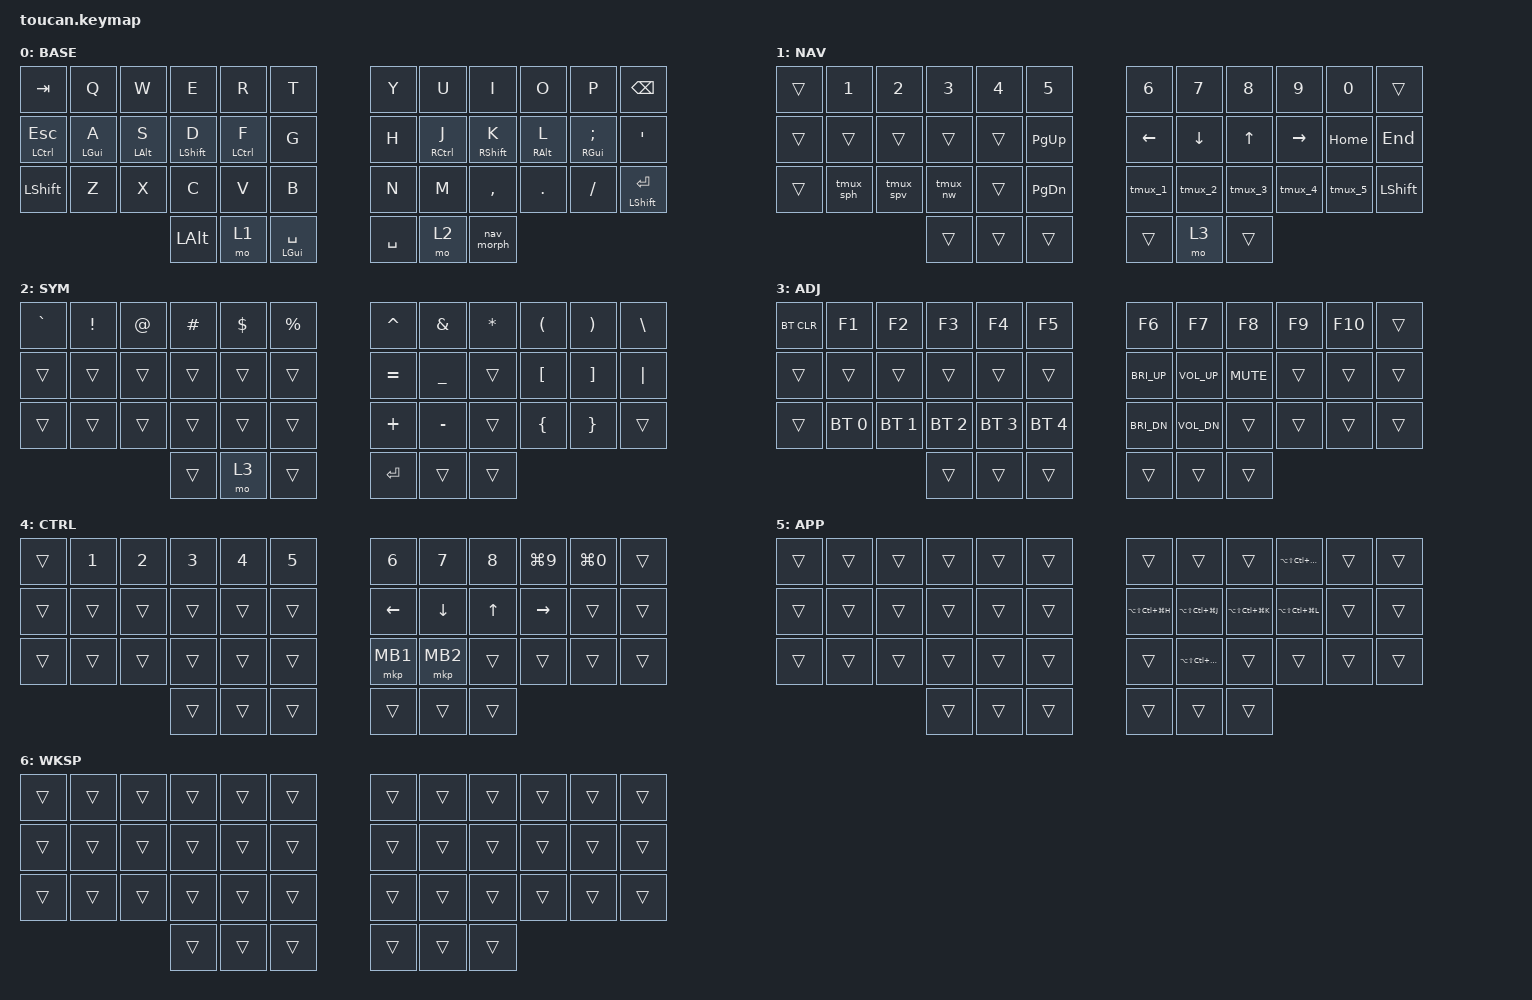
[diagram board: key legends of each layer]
#include <behaviors.dtsi>
#include <dt-bindings/zmk/keys.h>
#include <dt-bindings/zmk/bt.h>
#include <dt-bindings/zmk/mouse.h>


/ {
    macros {
        // Send Ctrl+SP (tmux prefix) then a window number in one keypress
        // Usage in NAV layer: hold NAV + press N/M/,/./slash = tmux window 1-5
        // Window switching: NAV + N/M/,/./slash
        tmux_1: tmux_1 { compatible = "zmk,behavior-macro"; #binding-cells = <0>; wait-ms = <50>; tap-ms = <10>; bindings = <&macro_tap &kp LC(SPACE) &kp N1>; };
        tmux_2: tmux_2 { compatible = "zmk,behavior-macro"; #binding-cells = <0>; wait-ms = <50>; tap-ms = <10>; bindings = <&macro_tap &kp LC(SPACE) &kp N2>; };
        tmux_3: tmux_3 { compatible = "zmk,behavior-macro"; #binding-cells = <0>; wait-ms = <50>; tap-ms = <10>; bindings = <&macro_tap &kp LC(SPACE) &kp N3>; };
        tmux_4: tmux_4 { compatible = "zmk,behavior-macro"; #binding-cells = <0>; wait-ms = <50>; tap-ms = <10>; bindings = <&macro_tap &kp LC(SPACE) &kp N4>; };
        tmux_5: tmux_5 { compatible = "zmk,behavior-macro"; #binding-cells = <0>; wait-ms = <50>; tap-ms = <10>; bindings = <&macro_tap &kp LC(SPACE) &kp N5>; };
        // Pane/window management: NAV + Z/X/C
        tmux_sph: tmux_sph { compatible = "zmk,behavior-macro"; #binding-cells = <0>; wait-ms = <50>; tap-ms = <10>; bindings = <&macro_tap &kp LC(SPACE) &kp PRCNT>; };
        tmux_spv: tmux_spv { compatible = "zmk,behavior-macro"; #binding-cells = <0>; wait-ms = <50>; tap-ms = <10>; bindings = <&macro_tap &kp LC(SPACE) &kp DQT>; };
        tmux_nw:  tmux_nw  { compatible = "zmk,behavior-macro"; #binding-cells = <0>; wait-ms = <50>; tap-ms = <10>; bindings = <&macro_tap &kp LC(SPACE) &kp C>; };
    };

    combos {
        compatible = "zmk,combos";
        // Z + / simultaneously = caps_word (for TYPING_CONSTANTS)
        combo_caps_word {
            timeout-ms = <50>;
            key-positions = <25 34>;
            bindings = <&caps_word>;
        };
        // Right module: GUI/SP + SYS together = RET
        combo_ret {
            timeout-ms = <50>;
            key-positions = <39 40>;
            bindings = <&kp RET>;
        };
        // Left outer top two (TAB+ESC) or right outer top two (BSPC+SQT) = macOS dictation
        combo_dictation_l {
            timeout-ms = <50>;
            key-positions = <0 12>;
            bindings = <&kp C_VOICE_COMMAND>;
        };
        combo_dictation_r {
            timeout-ms = <50>;
            key-positions = <11 23>;
            bindings = <&kp C_VOICE_COMMAND>;
        };
    };

    behaviors {
        // Right outer thumb: hold = VIMNAV layer, shift+hold = RET
        nav_morph: nav_morph {
            compatible = "zmk,behavior-mod-morph";
            #binding-cells = <0>;
            bindings = <&mo 4>, <&kp RET>;
            mods = <(MOD_LSFT|MOD_RSFT)>;
        };

        // Left-hand home row mods (A S D F)
        // Only activates as modifier when a key on the RIGHT side is pressed
        lhm: left_homerow_mods {
            compatible = "zmk,behavior-hold-tap";
            #binding-cells = <2>;
            flavor = "balanced";
            tapping-term-ms = <200>;
            quick-tap-ms = <175>;
            require-prior-idle-ms = <250>;
            bindings = <&kp>, <&kp>;
            hold-trigger-key-positions = <6 7 8 9 10 11 18 19 20 21 22 23 30 31 32 33 34 35 39 40 41>;
            hold-trigger-on-release;
        };

        // Right-hand home row mods (J K L ;)
        // Tap alone = key. Simultaneous with LEFT-side key = modifier.
        // tapping-term very high — hold only fires via cross-hand trigger, not duration.
        rhm: right_homerow_mods {
            compatible = "zmk,behavior-hold-tap";
            #binding-cells = <2>;
            flavor = "balanced";
            tapping-term-ms = <200>;
            quick-tap-ms = <175>;
            require-prior-idle-ms = <250>;
            bindings = <&kp>, <&kp>;
            hold-trigger-key-positions = <0 1 2 3 4 5 12 13 14 15 16 17 24 25 26 27 28 29 36 37 38>;
            hold-trigger-on-release;
        };

    };

    keymap {
        compatible = "zmk,keymap";

        // Layer 0: Base (QWERTY) with HRM
        // ┌─────┬───┬───┬───┬───┬───┐   ┌───┬───┬───┬───┬───┬──────┐
        // │ TAB │ Q │ W │ E │ R │ T │   │ Y │ U │ I │ O │ P │ BSPC │
        // ├─────┼───┼───┼───┼───┼───┤   ├───┼───┼───┼───┼───┼──────┤
        // │ESC/ │GUI│ALT│SHF│CTL│ G │   │ H │CTL│SHF│ALT│GUI│  '   │
        // │CTRL │ a │ s │ d │ f │   │   │   │ j │ k │ l │ ; │      │
        // ├─────┼───┼───┼───┼───┼───┤   ├───┼───┼───┼───┼───┼──────┤
        // │SHFT │ Z │ X │ C │ V │ B │   │ N │ M │ , │ . │ / │SH/RET│
        // └─────┴───┴───┼───┼───┼───┤   ├───┼───┼───┼───┴───┴──────┘
        //               │ALT│NAV│WSP│   │SPC│SYM│CTL│
        //               │   │   │/SP│   │   │   │/RE│
        //               └───┴───┴───┘   └───┴───┴───┘
        base_layer {
            display-name = "BASE";
            bindings = <
                &kp TAB         &kp Q        &kp W        &kp E        &kp R        &kp T          &kp Y        &kp U        &kp I        &kp O        &kp P        &kp BSPC
                &mt LCTRL ESC   &lhm LGUI A  &lhm LALT S  &lhm LSHFT D &lhm LCTRL F &kp G          &kp H        &rhm RCTRL J &rhm RSHFT K &rhm RALT L  &rhm RGUI SEMI  &kp SQT
                &kp LSHFT       &kp Z        &kp X        &kp C        &kp V        &kp B          &kp N        &kp M        &kp COMMA    &kp DOT      &kp FSLH     &mt LSHFT RET
                                                        &kp LALT    &mo 1   &mt LGUI SPACE         &kp SPACE  &mo 2  &nav_morph
            >;
        };


        // Layer 1: NAV — hold left middle thumb
        // ┌─────┬───┬───┬───┬───┬───┐   ┌───┬───┬───┬───┬───┬───┐
        // │     │ 1 │ 2 │ 3 │ 4 │ 5 │   │ 6 │ 7 │ 8 │ 9 │ 0 │   │
        // ├─────┼───┼───┼───┼───┼───┤   ├───┼───┼───┼───┼───┼───┤
        // │     │   │   │   │   │PGU│   │ ← │ ↓ │ ↑ │ → │HOM│END│
        // ├─────┼───┼───┼───┼───┼───┤   ├───┼───┼───┼───┼───┼───┤
        // │     │SPH│SPV│NWP│   │PGD│   │TX1│TX2│TX3│TX4│TX5│SHF│
        // └─────┴───┴───┼───┼───┼───┤   ├───┼───┼───┼───┴───┴───┘
        //               │   │▓▓▓│   │   │   │ADJ│   │
        //               └───┴───┴───┘   └───┴───┴───┘
        // SPH = tmux split horizontal (%)   SPV = split vertical (")   NW = new window
        // TX1-5 = tmux window 1–5 (Ctrl+Space+N)
        // caps_word = Z + / simultaneously (for TYPING_CONSTANTS)
        nav_layer {
            display-name = "NAV";
            bindings = <
                &trans &kp N1    &kp N2    &kp N3    &kp N4 &kp N5      &kp N6   &kp N7    &kp N8   &kp N9    &kp N0   &trans
                &trans &trans    &trans    &trans    &trans &kp PG_UP   &kp LEFT &kp DOWN  &kp UP   &kp RIGHT &kp HOME &kp END
                &trans &tmux_sph &tmux_spv &tmux_nw  &trans &kp PG_DN   &tmux_1  &tmux_2   &tmux_3  &tmux_4   &tmux_5  &kp LSHFT
                                           &trans    &trans &trans      &trans   &mo 3     &trans
            >;
        };

        // Layer 2: SYM — hold right middle thumb
        // Right inner thumb (SPC position) = RET in this layer
        // (hold SYM + tap right inner = Return — one-thumb combo)
        // ┌─────┬───┬───┬───┬───┬───┐   ┌───┬───┬───┬───┬───┬─────┐
        // │  `  │ ! │ @ │ # │ $ │ % │   │ ^ │ & │ * │ ( │ ) │  \  │
        // ├─────┼───┼───┼───┼───┼───┤   ├───┼───┼───┼───┼───┼─────┤
        // │     │   │   │   │   │   │   │ = │ _ │   │ [ │ ] │  |  │
        // ├─────┼───┼───┼───┼───┼───┤   ├───┼───┼───┼───┼───┼─────┤
        // │     │   │   │   │   │   │   │ + │ - │   │ { │ } │     │
        // └─────┴───┴───┼───┼───┼───┤   ├───┼───┼───┼───┴───┴─────┘
        //               │   │ADJ│   │   │RET│▓▓▓│   │
        //               └───┴───┴───┘   └───┴───┴───┘
        symbols_layer {
            display-name = "SYM";
            bindings = <
                &kp GRAVE &kp EXCL &kp AT   &kp HASH  &kp DLLR  &kp PRCNT   &kp CARET &kp AMPS  &kp ASTRK   &kp LPAR  &kp RPAR &kp BSLH
                &trans    &trans   &trans   &trans    &trans    &trans      &kp EQUAL &kp UNDER &trans      &kp LBKT  &kp RBKT &kp PIPE
                &trans    &trans   &trans   &trans    &trans    &trans      &kp PLUS  &kp MINUS &trans      &kp LBRC  &kp RBRC &trans 
                                            &trans    &mo 3     &trans      &kp RET   &trans    &trans
            >;
        };


        // Layer 3: ADJ — hold both NAV + SYM at the same time
        // F-keys, media controls, brightness. BT controls here (safe — needs both thumbs).
        // ┌─────┬────┬────┬────┬────┬────┐   ┌────┬────┬────┬────┬─────┬─────┐
        // │     │ F1 │ F2 │ F3 │ F4 │ F5 │   │ F6 │ F7 │ F8 │ F9 │ F10 │     │
        // ├─────┼────┼────┼────┼────┼────┤   ├────┼────┼────┼────┼─────┼─────┤
        // │     │    │    │    │    │    │   │BRI+│VOL+│MUTE│    │     │     │
        // ├─────┼────┼────┼────┼────┼────┤   ├────┼────┼────┼────┼─────┼─────┤
        // │BTCLR│BT0 │BT1 │BT2 │BT3 │BT4 │   │BRI-│VOL-│    │    │     │     │
        // └─────┴────┴────┼────┼────┼────┤   ├────┼────┼────┼────┴─────┴─────┘
        //                 │    │▓▓▓ │    │   │    │▓▓▓ │    │
        //                 └────┴────┴────┘   └────┴────┴────┘
        adj_layer {
            display-name = "ADJ";
            bindings = <
                &bt BT_CLR      &kp F1       &kp F2       &kp F3       &kp F4       &kp F5           &kp F6       &kp F7       &kp F8     &kp F9     &kp F10    &trans
                &trans          &trans       &trans       &trans       &trans       &trans           &kp C_BRI_UP &kp C_VOL_UP &kp C_MUTE &trans     &trans     &trans
                &trans          &bt BT_SEL 0 &bt BT_SEL 1 &bt BT_SEL 2 &bt BT_SEL 3 &bt BT_SEL 4     &kp C_BRI_DN &kp C_VOL_DN &trans     &trans     &trans     &trans
                                                     &trans       &trans       &trans           &trans       &trans       &trans
            >;
        };

        // Layer 4: CTRL — hold right outer thumb (shift+thumb = RET)
        // Right home row = vim arrows. N=MB1  M=MB2.
        // ┌─────┬───┬───┬───┬───┬───┐   ┌───┬───┬───┬───┬───┬──────┐
        // │     │   │   │   │   │   │   │   │   │   │   │   │      │
        // ├─────┼───┼───┼───┼───┼───┤   ├───┼───┼───┼───┼───┼──────┤
        // │     │   │   │   │   │   │   │ ← │ ↓ │ ↑ │ → │   │      │
        // ├─────┼───┼───┼───┼───┼───┤   ├───┼───┼───┼───┼───┼──────┤
        // │     │   │   │   │   │   │   │MB1│MB2│   │   │   │      │
        // └─────┴───┴───┼───┼───┼───┤   ├───┼───┼───┼───┴───┴──────┘
        //               │   │   │   │   │   │   │▓▓▓│
        //               └───┴───┴───┘   └───┴───┴───┘
        ctrl_layer {
            display-name = "CTRL";
            bindings = <
                &trans &kp N1 &kp N2 &kp N3 &kp N4 &kp N5   &kp N6   &kp N7   &kp N8 &kp LG(N9) &kp LG(N0) &trans
                &trans &trans &trans &trans &trans &trans   &kp LEFT &kp DOWN &kp UP &kp RIGHT  &trans     &trans
                &trans &trans &trans &trans &trans &trans   &mkp MB1 &mkp MB2 &trans &trans     &trans     &trans
                                     &trans &trans &trans   &trans   &trans   &trans
            >;
        };
        // Layer 5: LAUNCH — hold left outer thumb (tap = BSPC)
        // Right hand only — left thumb is busy holding the layer key.
        // Every key sends Hyper+letter (Cmd+Ctrl+Opt+Shift+key).
        // Wire up in skhd:
        //   hyper - h : open -a Finder
        //   hyper - j : open -a Alacritty   # your terminal
        //   hyper - k : open -a Slack
        //   hyper - l : open -a "Google Chrome"
        //   hyper - o : open -a Obsidian
        //   hyper - m : open -a Mail
        //
        // ┌─────┬───┬───┬───┬───┬───┐   ┌───┬───┬───┬───┬───┬──────┐
        // │     │   │   │   │   │   │   │   │   │   │OBS│   │      │
        // ├─────┼───┼───┼───┼───┼───┤   ├───┼───┼───┼───┼───┼──────┤
        // │     │   │   │   │   │   │   │FDR│TRM│SLK│BRW│   │      │
        // ├─────┼───┼───┼───┼───┼───┤   ├───┼───┼───┼───┼───┼──────┤
        // │     │   │   │   │   │   │   │   │MAL│   │   │   │      │
        // └─────┴───┴───┼───┼───┼───┤   ├───┼───┼───┼───┴───┴──────┘
        //               │▓▓▓│   │   │   │   │   │   │
        //               └───┴───┴───┘   └───┴───┴───┘
        launch_layer {
            display-name = "APP";
            bindings = <
                &trans  &trans  &trans  &trans  &trans  &trans    &trans                    &trans                    &trans                    &kp LA(LS(LC(LG(O))))   &trans  &trans
                &trans  &trans  &trans  &trans  &trans  &trans    &kp LA(LS(LC(LG(H))))     &kp LA(LS(LC(LG(J))))     &kp LA(LS(LC(LG(K))))     &kp LA(LS(LC(LG(L))))   &trans  &trans
                &trans  &trans  &trans  &trans  &trans  &trans    &trans                    &kp LA(LS(LC(LG(M))))     &trans                    &trans                  &trans  &trans
                                        &trans  &trans  &trans    &trans                    &trans                    &trans
            >;
        };
        // Layer 6: WKSP — hold left inner thumb (GUI/SP key), tap = SPACE
        // Q-P → GUI+1 through GUI+0 for yabai workspace switching
        // ┌─────┬────┬────┬────┬────┬────┐   ┌────┬────┬────┬────┬────┬──────┐
        // │     │G+1 │G+2 │G+3 │G+4 │G+5 │   │G+6 │G+7 │G+8 │G+9 │G+0 │      │
        // ├─────┼────┼────┼────┼────┼────┤   ├────┼────┼────┼────┼────┼──────┤
        // │     │    │    │    │    │    │   │    │    │    │    │    │      │
        // ├─────┼────┼────┼────┼────┼────┤   ├────┼────┼────┼────┼────┼──────┤
        // │     │    │    │    │    │    │   │    │    │    │    │    │      │
        // └─────┴────┴────┼────┼────┼────┤   ├────┼────┼────┼────┴────┴──────┘
        //                 │    │    │▓▓▓ │   │    │    │    │
        //                 └────┴────┴────┘   └────┴────┴────┘
        wksp_layer {
            display-name = "WKSP";
            bindings = <
                &trans &trans     &trans     &trans     &trans     &trans        &trans     &trans     &trans     &trans     &trans     &trans
                &trans &trans     &trans     &trans     &trans     &trans        &trans     &trans     &trans     &trans     &trans     &trans
                &trans &trans     &trans     &trans     &trans     &trans        &trans     &trans     &trans     &trans     &trans     &trans
                                             &trans     &trans     &trans        &trans     &trans     &trans
            >;
        };
    };
};
